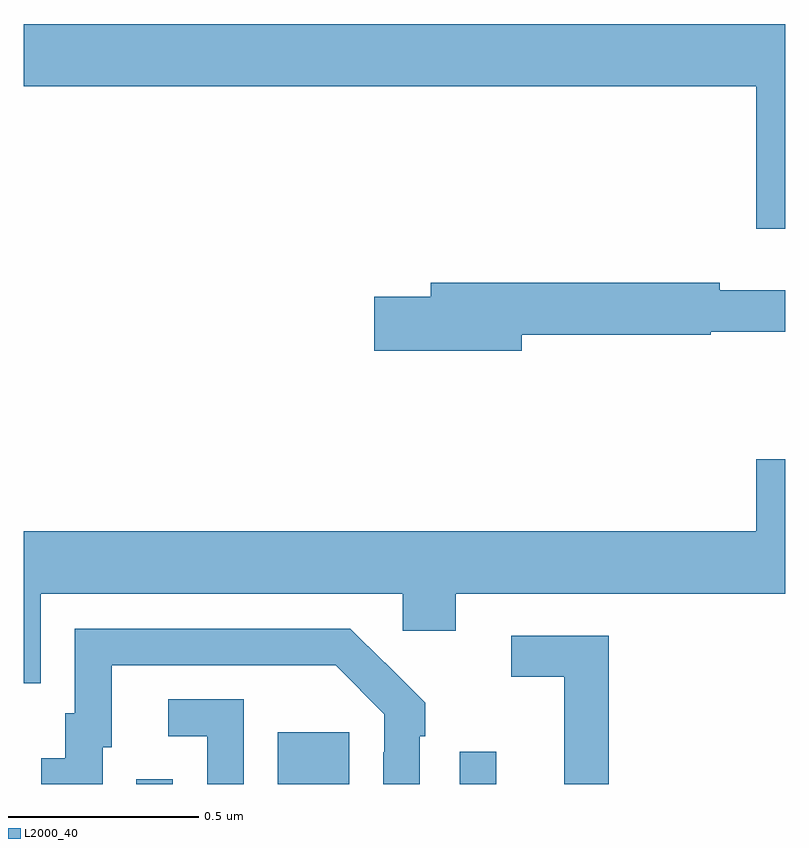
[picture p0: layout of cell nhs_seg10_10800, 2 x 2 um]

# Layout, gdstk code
import gdstk
lib = gdstk.Library(unit=1e-6, precision=1e-09)
def R(c, l, rs):  # rectangles x0, y0, x1, y1
    for r in rs: c.add(gdstk.rectangle(r[:2], r[2:], *l))
def P(c, l, *ps):  # polygons
    for p in ps: c.add(gdstk.Polygon(p, *l))
L2000_40 = (2000, 40)

nhs_seg10_10800 = lib.new_cell('nhs_seg10_10800')
R(nhs_seg10_10800, L2000_40, [(247.296,1282.5,247.392,1282.513), (247.667,1282.5,247.855,1282.636), (248.145,1282.5,248.241,1282.585)])
P(nhs_seg10_10800, L2000_40, [(249,1284.496),(247,1284.496),(247,1284.332),(248.924,1284.332),(248.924,1283.958),(249,1283.958)],
  [(248.308,1283.68),(248.804,1283.68),(248.804,1283.688),(249,1283.688),(249,1283.797),(248.828,1283.797),(248.828,1283.816),(248.069,1283.816),(248.069,1283.78),(247.92,1283.78),(247.92,1283.638),(248.308,1283.638)],
  [(247.045,1283),(247.995,1283),(247.995,1282.902),(248.134,1282.902),(248.134,1283),(249,1283),(249,1283.353),(248.924,1283.353),(248.924,1283.164),(247,1283.164),(247,1282.765),(247.045,1282.765)],
  [(247.207,1282.596),(247.231,1282.596),(247.231,1282.812),(247.819,1282.812),(247.947,1282.683),(247.947,1282.583),(247.944,1282.583),(247.944,1282.5),(248.04,1282.5),(248.04,1282.625),(248.055,1282.625),(248.055,1282.713),(247.95,1282.818),(247.949,1282.817),(247.858,1282.908),(247.134,1282.908),(247.134,1282.686),(247.109,1282.686),(247.109,1282.567),(247.046,1282.567),(247.046,1282.5),(247.207,1282.5)],
  [(248.537,1282.89),(248.28,1282.89),(248.28,1282.782),(248.42,1282.782),(248.42,1282.5),(248.537,1282.5)],
  [(247.578,1282.722),(247.38,1282.722),(247.38,1282.626),(247.482,1282.626),(247.482,1282.5),(247.578,1282.5)])

lib.write_gds('nhs_seg10_10800.gds')
